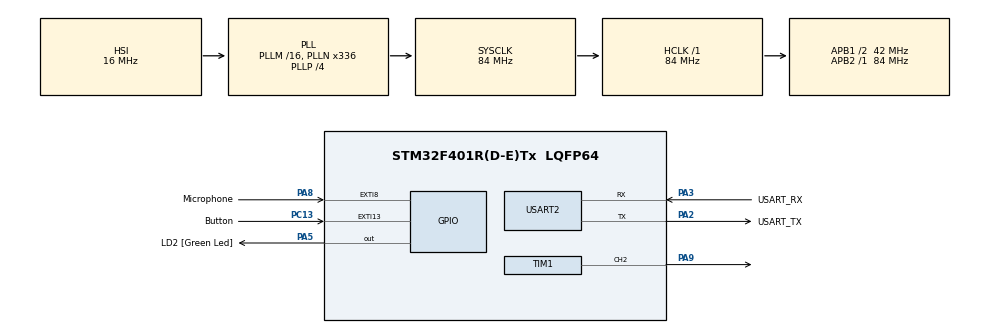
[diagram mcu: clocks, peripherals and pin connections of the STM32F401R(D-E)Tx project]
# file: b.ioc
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Mcu.Family=STM32F4
Mcu.Name=STM32F401R(D-E)Tx
Mcu.Package=LQFP64
NVIC.EXTI9_5_IRQn=true\:0\:0\:false\:false\:true\:true\:true\:true
NVIC.PriorityGroup=NVIC_PRIORITYGROUP_0
NVIC.TIM2_IRQn=true\:0\:0\:false\:true\:true\:1\:true\:true\:true
PA13.GPIO_Label=TMS
PA13.Mode=Serial_Wire
PA13.Signal=SYS_JTMS-SWDIO
PA14.GPIO_Label=TCK
PA14.Mode=Serial_Wire
PA14.Signal=SYS_JTCK-SWCLK
PA2.GPIO_Label=USART_TX
PA2.GPIO_Mode=GPIO_MODE_AF_PP
PA2.GPIO_PuPd=GPIO_NOPULL
PA2.GPIO_Speed=GPIO_SPEED_FREQ_LOW
PA2.Mode=Asynchronous
PA2.Signal=USART2_TX
PA3.GPIO_Label=USART_RX
PA3.GPIO_Mode=GPIO_MODE_AF_PP
PA3.GPIO_PuPd=GPIO_NOPULL
PA3.GPIO_Speed=GPIO_SPEED_FREQ_LOW
PA3.Mode=Asynchronous
PA3.Signal=USART2_RX
PA5.GPIO_Label=LD2 [Green Led]
PA5.GPIO_Mode=GPIO_MODE_OUTPUT_PP
PA5.GPIO_PuPd=GPIO_NOPULL
PA5.GPIO_Speed=GPIO_SPEED_FREQ_LOW
PA5.Signal=GPIO_Output
PA8.GPIO_Label=Microphone
PA8.Signal=GPXTI8
PA9.Signal=S_TIM1_CH2
PB3.GPIO_Label=SWO
PB3.Signal=SYS_JTDO-SWO
PC13-ANTI_TAMP.GPIO_Label=Button
PC13-ANTI_TAMP.GPIO_ModeDefaultEXTI=GPIO_MODE_IT_FALLING
PC13-ANTI_TAMP.GPIO_PuPd=GPIO_NOPULL
PC13-ANTI_TAMP.Signal=GPXTI13
PC14-OSC32_IN.Mode=LSE-External-Oscillator
PC14-OSC32_IN.Signal=RCC_OSC32_IN
PC15-OSC32_OUT.Mode=LSE-External-Oscillator
PC15-OSC32_OUT.Signal=RCC_OSC32_OUT
PH0\ -\ OSC_IN.Mode=HSE-External-Clock-Source
PH0\ -\ OSC_IN.Signal=RCC_OSC_IN
PH1\ -\ OSC_OUT.Mode=HSE-External-Clock-Source
PH1\ -\ OSC_OUT.Signal=RCC_OSC_OUT
ProjectManager.HeapSize=0x200
ProjectManager.StackSize=0x400
ProjectManager.TargetToolchain=STM32CubeIDE
RCC.48MHZClocksFreq_Value=48000000
RCC.AHBFreq_Value=84000000
RCC.APB1CLKDivider=RCC_HCLK_DIV2
RCC.APB1Freq_Value=42000000
RCC.APB1TimFreq_Value=84000000
RCC.APB2Freq_Value=84000000
RCC.APB2TimFreq_Value=84000000
RCC.CortexFreq_Value=84000000
RCC.HCLKFreq_Value=84000000
RCC.HSE_VALUE=8000000
RCC.HSI_VALUE=16000000
RCC.PLLN=336
RCC.PLLP=RCC_PLLP_DIV4
RCC.PLLQ=7
RCC.SYSCLKFreq_VALUE=84000000
RCC.SYSCLKSource=RCC_SYSCLKSOURCE_PLLCLK
RCC.VCOOutputFreq_Value=336000000
SH.S_TIM1_CH2.0=TIM1_CH2,PWM Generation2 CH2
TIM1.Channel-PWM\ Generation2\ CH2=TIM_CHANNEL_2
USART2.VirtualMode=VM_ASYNC
VP_TIM1_VS_ClockSourceINT.Mode=Internal
VP_TIM2_VS_ClockSourceINT.Mode=Internal
board=NUCLEO-F401RE

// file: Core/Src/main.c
/* USER CODE BEGIN Header */
/**
 ******************************************************************************
 * @file           : main.c
 * @brief          : Main program body
 ******************************************************************************
 * @attention
 *
 * Copyright (c) 2023 STMicroelectronics.
 * All rights reserved.
 *
 * This software is licensed under terms that can be found in the LICENSE file
 * in the root directory of this software component.
 * If no LICENSE file comes with this software, it is provided AS-IS.
 *
 ******************************************************************************
 */
/* USER CODE END Header */
#include "main.h"

/* USER CODE BEGIN PTD */

typedef struct Note
{
  int tone;
  int duration; // [ms]
} Note;

/* USER CODE END PTD */

/* USER CODE BEGIN PD */

#define _DO4 3206
#define _DOH4 3032
#define _RE4 2858
#define _REH4 2700
#define _MI4 2546
#define _FA4 2406
#define _FAH4 2270
#define _SOL4 2142
#define _SOLH4 2024
#define _LA4 1908
#define _LAH4 1802
#define _SI4 1700

#define TEMPO 75 // [ms]

/* USER CODE END PD */

TIM_HandleTypeDef htim1;
TIM_HandleTypeDef htim2;

UART_HandleTypeDef huart2;

/* USER CODE BEGIN PV */

int next_note_idx;

static Note song[] = {
    {_SOL4, 6 * TEMPO},
    {_LA4, 2 * TEMPO},
    {_SOL4, 4 * TEMPO},
    {_FA4, 4 * TEMPO},
    {_MI4, 4 * TEMPO},
    {_FA4, 4 * TEMPO},
    {_SOL4, 8 * TEMPO},
    {_RE4, 4 * TEMPO},
    {_MI4, 4 * TEMPO},
    {_FA4, 8 * TEMPO},
    {_MI4, 4 * TEMPO},
    {_FA4, 4 * TEMPO},
    {_SOL4, 8 * TEMPO},
    {_SOL4, 6 * TEMPO},
    {_LA4, 2 * TEMPO},
    {_SOL4, 4 * TEMPO},
    {_FA4, 4 * TEMPO},
    {_MI4, 4 * TEMPO},
    {_FA4, 4 * TEMPO},
    {_SOL4, 8 * TEMPO},
    {_RE4, 8 * TEMPO},
    {_SOL4, 8 * TEMPO},
    {_MI4, 4 * TEMPO},
    {_DO4, 12 * TEMPO},
};

void play_song();
void play_next_note();
void play_note(int tone);
void setup_tim2_next_interrupt(int duration);

/* USER CODE END PV */

void SystemClock_Config(void);
static void MX_GPIO_Init(void);
static void MX_USART2_UART_Init(void);
static void MX_TIM1_Init(void);
static void MX_TIM2_Init(void);
static void MX_NVIC_Init(void);

/* USER CODE BEGIN 0 */

void HAL_GPIO_EXTI_Callback(uint16_t GPIO_Pin)
{
  switch (GPIO_Pin)
  {
  case Microphone_Pin:
    play_song(); // Start the song from the beginning
    break;
  default:
    break;
  }
}

void HAL_TIM_PeriodElapsedCallback(TIM_HandleTypeDef *htim)
{
  play_next_note();
}

void play_song()
{
  // If a song is currently playing we need to stop it
  {
    HAL_TIM_Base_Stop(&htim1);
    HAL_TIM_Base_Stop_IT(&htim2);
  }

  next_note_idx = 0; // Make sure to start from the beginning
  play_next_note();
}

void play_next_note()
{
  if (next_note_idx == sizeof(song) / sizeof(Note))
  {
    // We reached the end of the song, stop
    HAL_TIM_PWM_Stop(&htim1, TIM_CHANNEL_2);
  }
  else
  {
    play_note(song[next_note_idx].tone); // Setup TIM1 to play the next note
    setup_tim2_next_interrupt(song[next_note_idx].duration);
    next_note_idx++;
  }
}

void play_note(int tone)
{
  TIM_ClockConfigTypeDef sClockSourceConfig = {0};
  TIM_MasterConfigTypeDef sMasterConfig = {0};
  TIM_OC_InitTypeDef sConfigOC = {0};
  TIM_BreakDeadTimeConfigTypeDef sBreakDeadTimeConfig = {0};

  htim1.Instance = TIM1;
  htim1.Init.Prescaler = 100 - 1;
  htim1.Init.CounterMode = TIM_COUNTERMODE_UP;
  htim1.Init.Period = tone;
  htim1.Init.ClockDivision = TIM_CLOCKDIVISION_DIV1;
  htim1.Init.RepetitionCounter = 0;
  htim1.Init.AutoReloadPreload = TIM_AUTORELOAD_PRELOAD_DISABLE;
  if (HAL_TIM_Base_Init(&htim1) != HAL_OK)
  {
    Error_Handler();
  }
  sClockSourceConfig.ClockSource = TIM_CLOCKSOURCE_INTERNAL;
  if (HAL_TIM_ConfigClockSource(&htim1, &sClockSourceConfig) != HAL_OK)
  {
    Error_Handler();
  }
  if (HAL_TIM_PWM_Init(&htim1) != HAL_OK)
  {
    Error_Handler();
  }
  sMasterConfig.MasterOutputTrigger = TIM_TRGO_RESET;
  sMasterConfig.MasterSlaveMode = TIM_MASTERSLAVEMODE_DISABLE;
  if (HAL_TIMEx_MasterConfigSynchronization(&htim1, &sMasterConfig) != HAL_OK)
  {
    Error_Handler();
  }
  sConfigOC.OCMode = TIM_OCMODE_PWM1;
  sConfigOC.Pulse = tone / 2;
  sConfigOC.OCPolarity = TIM_OCPOLARITY_HIGH;
  sConfigOC.OCNPolarity = TIM_OCNPOLARITY_HIGH;
  sConfigOC.OCFastMode = TIM_OCFAST_DISABLE;
  sConfigOC.OCIdleState = TIM_OCIDLESTATE_RESET;
  sConfigOC.OCNIdleState = TIM_OCNIDLESTATE_RESET;
  if (HAL_TIM_PWM_ConfigChannel(&htim1, &sConfigOC, TIM_CHANNEL_2) != HAL_OK)
  {
    Error_Handler();
  }
  sBreakDeadTimeConfig.OffStateRunMode = TIM_OSSR_DISABLE;
  sBreakDeadTimeConfig.OffStateIDLEMode = TIM_OSSI_DISABLE;
  sBreakDeadTimeConfig.LockLevel = TIM_LOCKLEVEL_OFF;
  sBreakDeadTimeConfig.DeadTime = 0;
  sBreakDeadTimeConfig.BreakState = TIM_BREAK_DISABLE;
  sBreakDeadTimeConfig.BreakPolarity = TIM_BREAKPOLARITY_HIGH;
  sBreakDeadTimeConfig.AutomaticOutput = TIM_AUTOMATICOUTPUT_DISABLE;
  if (HAL_TIMEx_ConfigBreakDeadTime(&htim1, &sBreakDeadTimeConfig) != HAL_OK)
  {
    Error_Handler();
  }

  HAL_TIM_PWM_Start(&htim1, TIM_CHANNEL_2);
}

void setup_tim2_next_interrupt(int duration)
{
  TIM_ClockConfigTypeDef sClockSourceConfig = {0};
  TIM_MasterConfigTypeDef sMasterConfig = {0};

  htim2.Instance = TIM2;
  htim2.Init.Prescaler = 8400 - 1; // 84MHz / 8400 = 10KHz -> 100us period
  htim2.Init.CounterMode = TIM_COUNTERMODE_UP;
  htim2.Init.Period = 10 * duration;
  htim2.Init.ClockDivision = TIM_CLOCKDIVISION_DIV1;
  htim2.Init.AutoReloadPreload = TIM_AUTORELOAD_PRELOAD_DISABLE;
  if (HAL_TIM_Base_Init(&htim2) != HAL_OK)
  {
    Error_Handler();
  }
  sClockSourceConfig.ClockSource = TIM_CLOCKSOURCE_INTERNAL;
  if (HAL_TIM_ConfigClockSource(&htim2, &sClockSourceConfig) != HAL_OK)
  {
    Error_Handler();
  }
  if (HAL_TIM_OnePulse_Init(&htim2, TIM_OPMODE_SINGLE) != HAL_OK)
  {
    Error_Handler();
  }
  sMasterConfig.MasterOutputTrigger = TIM_TRGO_RESET;
  sMasterConfig.MasterSlaveMode = TIM_MASTERSLAVEMODE_DISABLE;
  if (HAL_TIMEx_MasterConfigSynchronization(&htim2, &sMasterConfig) != HAL_OK)
  {
    Error_Handler();
  }

  __HAL_TIM_CLEAR_IT(&htim2, TIM_IT_UPDATE);
  HAL_TIM_Base_Start_IT(&htim2);
}

/* USER CODE END 0 */

int main(void)
{

  /* MCU Configuration--------------------------------------------------------*/

  /* Reset of all peripherals, Initializes the Flash interface and the Systick. */
  HAL_Init();

  /* Configure the system clock */
  SystemClock_Config();

  /* Initialize all configured peripherals */
  MX_GPIO_Init();
  MX_USART2_UART_Init();
  MX_TIM1_Init();
  MX_TIM2_Init();

  /* Initialize interrupts */
  MX_NVIC_Init();

  /* Infinite loop */
  while (1)
  {

  }
}

void SystemClock_Config(void)
{
  RCC_OscInitTypeDef RCC_OscInitStruct = {0};
  RCC_ClkInitTypeDef RCC_ClkInitStruct = {0};

  /** Configure the main internal regulator output voltage
   */
  __HAL_RCC_PWR_CLK_ENABLE();
  __HAL_PWR_VOLTAGESCALING_CONFIG(PWR_REGULATOR_VOLTAGE_SCALE2);

  /** Initializes the RCC Oscillators according to the specified parameters
   * in the RCC_OscInitTypeDef structure.
   */
  RCC_OscInitStruct.OscillatorType = RCC_OSCILLATORTYPE_HSI;
  RCC_OscInitStruct.HSIState = RCC_HSI_ON;
  RCC_OscInitStruct.HSICalibrationValue = RCC_HSICALIBRATION_DEFAULT;
  RCC_OscInitStruct.PLL.PLLState = RCC_PLL_ON;
  RCC_OscInitStruct.PLL.PLLSource = RCC_PLLSOURCE_HSI;
  RCC_OscInitStruct.PLL.PLLM = 16;
  RCC_OscInitStruct.PLL.PLLN = 336;
  RCC_OscInitStruct.PLL.PLLP = RCC_PLLP_DIV4;
  RCC_OscInitStruct.PLL.PLLQ = 7;
  if (HAL_RCC_OscConfig(&RCC_OscInitStruct) != HAL_OK)
  {
    Error_Handler();
  }

  /** Initializes the CPU, AHB and APB buses clocks
   */
  RCC_ClkInitStruct.ClockType = RCC_CLOCKTYPE_HCLK | RCC_CLOCKTYPE_SYSCLK | RCC_CLOCKTYPE_PCLK1 | RCC_CLOCKTYPE_PCLK2;
  RCC_ClkInitStruct.SYSCLKSource = RCC_SYSCLKSOURCE_PLLCLK;
  RCC_ClkInitStruct.AHBCLKDivider = RCC_SYSCLK_DIV1;
  RCC_ClkInitStruct.APB1CLKDivider = RCC_HCLK_DIV2;
  RCC_ClkInitStruct.APB2CLKDivider = RCC_HCLK_DIV1;

  if (HAL_RCC_ClockConfig(&RCC_ClkInitStruct, FLASH_LATENCY_2) != HAL_OK)
  {
    Error_Handler();
  }
}

/**
 * @brief NVIC Configuration.
 * @retval None
 */
static void MX_NVIC_Init(void)
{
  /* TIM2_IRQn interrupt configuration */
  HAL_NVIC_SetPriority(TIM2_IRQn, 0, 0);
  HAL_NVIC_EnableIRQ(TIM2_IRQn);
}

static void MX_TIM1_Init(void)
{

  TIM_ClockConfigTypeDef sClockSourceConfig = {0};
  TIM_MasterConfigTypeDef sMasterConfig = {0};
  TIM_OC_InitTypeDef sConfigOC = {0};
  TIM_BreakDeadTimeConfigTypeDef sBreakDeadTimeConfig = {0};

  htim1.Instance = TIM1;
  htim1.Init.Prescaler = 0;
  htim1.Init.CounterMode = TIM_COUNTERMODE_UP;
  htim1.Init.Period = 65535;
  htim1.Init.ClockDivision = TIM_CLOCKDIVISION_DIV1;
  htim1.Init.RepetitionCounter = 0;
  htim1.Init.AutoReloadPreload = TIM_AUTORELOAD_PRELOAD_DISABLE;
  if (HAL_TIM_Base_Init(&htim1) != HAL_OK)
  {
    Error_Handler();
  }
  sClockSourceConfig.ClockSource = TIM_CLOCKSOURCE_INTERNAL;
  if (HAL_TIM_ConfigClockSource(&htim1, &sClockSourceConfig) != HAL_OK)
  {
    Error_Handler();
  }
  if (HAL_TIM_PWM_Init(&htim1) != HAL_OK)
  {
    Error_Handler();
  }
  sMasterConfig.MasterOutputTrigger = TIM_TRGO_RESET;
  sMasterConfig.MasterSlaveMode = TIM_MASTERSLAVEMODE_DISABLE;
  if (HAL_TIMEx_MasterConfigSynchronization(&htim1, &sMasterConfig) != HAL_OK)
  {
    Error_Handler();
  }
  sConfigOC.OCMode = TIM_OCMODE_PWM1;
  sConfigOC.Pulse = 0;
  sConfigOC.OCPolarity = TIM_OCPOLARITY_HIGH;
  sConfigOC.OCNPolarity = TIM_OCNPOLARITY_HIGH;
  sConfigOC.OCFastMode = TIM_OCFAST_DISABLE;
  sConfigOC.OCIdleState = TIM_OCIDLESTATE_RESET;
  sConfigOC.OCNIdleState = TIM_OCNIDLESTATE_RESET;
  if (HAL_TIM_PWM_ConfigChannel(&htim1, &sConfigOC, TIM_CHANNEL_2) != HAL_OK)
  {
    Error_Handler();
  }
  sBreakDeadTimeConfig.OffStateRunMode = TIM_OSSR_DISABLE;
  sBreakDeadTimeConfig.OffStateIDLEMode = TIM_OSSI_DISABLE;
  sBreakDeadTimeConfig.LockLevel = TIM_LOCKLEVEL_OFF;
  sBreakDeadTimeConfig.DeadTime = 0;
  sBreakDeadTimeConfig.BreakState = TIM_BREAK_DISABLE;
  sBreakDeadTimeConfig.BreakPolarity = TIM_BREAKPOLARITY_HIGH;
  sBreakDeadTimeConfig.AutomaticOutput = TIM_AUTOMATICOUTPUT_DISABLE;
  if (HAL_TIMEx_ConfigBreakDeadTime(&htim1, &sBreakDeadTimeConfig) != HAL_OK)
  {
    Error_Handler();
  }
  HAL_TIM_MspPostInit(&htim1);
}

static void MX_TIM2_Init(void)
{

  TIM_ClockConfigTypeDef sClockSourceConfig = {0};
  TIM_MasterConfigTypeDef sMasterConfig = {0};

  htim2.Instance = TIM2;
  htim2.Init.Prescaler = 0;
  htim2.Init.CounterMode = TIM_COUNTERMODE_UP;
  htim2.Init.Period = 4294967295;
  htim2.Init.ClockDivision = TIM_CLOCKDIVISION_DIV1;
  htim2.Init.AutoReloadPreload = TIM_AUTORELOAD_PRELOAD_DISABLE;
  if (HAL_TIM_Base_Init(&htim2) != HAL_OK)
  {
    Error_Handler();
  }
  sClockSourceConfig.ClockSource = TIM_CLOCKSOURCE_INTERNAL;
  if (HAL_TIM_ConfigClockSource(&htim2, &sClockSourceConfig) != HAL_OK)
  {
    Error_Handler();
  }
  sMasterConfig.MasterOutputTrigger = TIM_TRGO_RESET;
  sMasterConfig.MasterSlaveMode = TIM_MASTERSLAVEMODE_DISABLE;
  if (HAL_TIMEx_MasterConfigSynchronization(&htim2, &sMasterConfig) != HAL_OK)
  {
    Error_Handler();
  }
}

static void MX_USART2_UART_Init(void)
{

  huart2.Instance = USART2;
  huart2.Init.BaudRate = 115200;
  huart2.Init.WordLength = UART_WORDLENGTH_8B;
  huart2.Init.StopBits = UART_STOPBITS_1;
  huart2.Init.Parity = UART_PARITY_NONE;
  huart2.Init.Mode = UART_MODE_TX_RX;
  huart2.Init.HwFlowCtl = UART_HWCONTROL_NONE;
  huart2.Init.OverSampling = UART_OVERSAMPLING_16;
  if (HAL_UART_Init(&huart2) != HAL_OK)
  {
    Error_Handler();
  }
}

static void MX_GPIO_Init(void)
{
  GPIO_InitTypeDef GPIO_InitStruct = {0};

  /* GPIO Ports Clock Enable */
  __HAL_RCC_GPIOC_CLK_ENABLE();
  __HAL_RCC_GPIOH_CLK_ENABLE();
  __HAL_RCC_GPIOA_CLK_ENABLE();
  __HAL_RCC_GPIOB_CLK_ENABLE();

  /*Configure GPIO pin Output Level */
  HAL_GPIO_WritePin(LD2_GPIO_Port, LD2_Pin, GPIO_PIN_RESET);

  /*Configure GPIO pin : Button_Pin */
  GPIO_InitStruct.Pin = Button_Pin;
  GPIO_InitStruct.Mode = GPIO_MODE_IT_FALLING;
  GPIO_InitStruct.Pull = GPIO_NOPULL;
  HAL_GPIO_Init(Button_GPIO_Port, &GPIO_InitStruct);

  /*Configure GPIO pin : LD2_Pin */
  GPIO_InitStruct.Pin = LD2_Pin;
  GPIO_InitStruct.Mode = GPIO_MODE_OUTPUT_PP;
  GPIO_InitStruct.Pull = GPIO_NOPULL;
  GPIO_InitStruct.Speed = GPIO_SPEED_FREQ_LOW;
  HAL_GPIO_Init(LD2_GPIO_Port, &GPIO_InitStruct);

  /*Configure GPIO pin : Microphone_Pin */
  GPIO_InitStruct.Pin = Microphone_Pin;
  GPIO_InitStruct.Mode = GPIO_MODE_IT_RISING;
  GPIO_InitStruct.Pull = GPIO_NOPULL;
  HAL_GPIO_Init(Microphone_GPIO_Port, &GPIO_InitStruct);

  /* EXTI interrupt init*/
  HAL_NVIC_SetPriority(EXTI9_5_IRQn, 0, 0);
  HAL_NVIC_EnableIRQ(EXTI9_5_IRQn);

}

void Error_Handler(void)
{
  __disable_irq();
  while (1)
  {
  }
}
